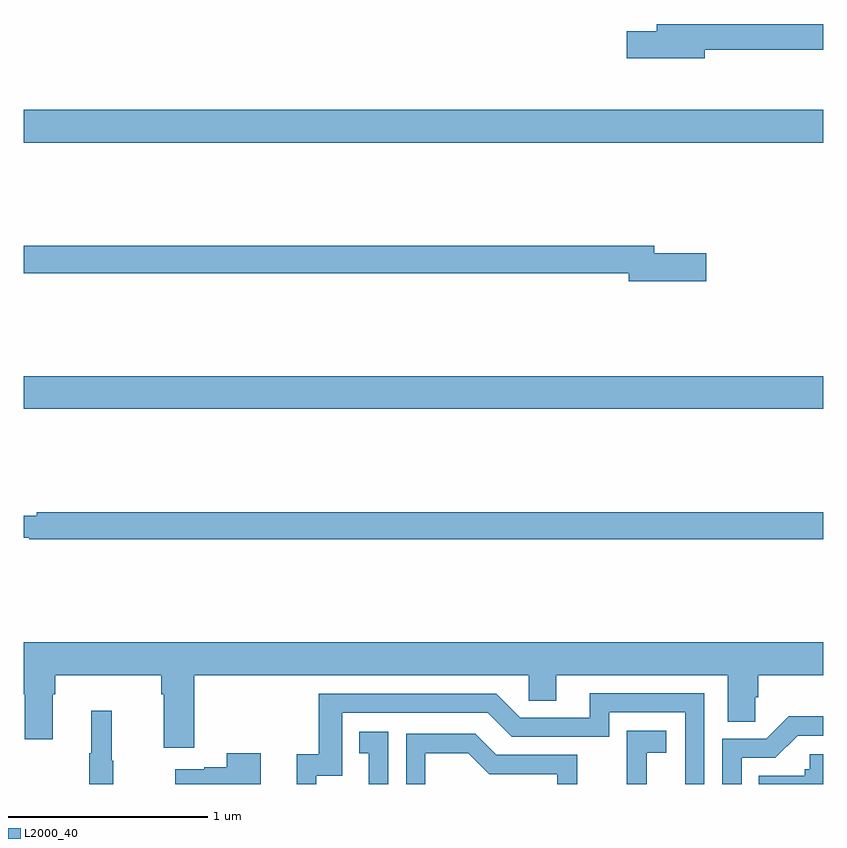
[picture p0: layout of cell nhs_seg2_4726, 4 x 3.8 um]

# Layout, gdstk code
import gdstk
lib = gdstk.Library(unit=1e-6, precision=1e-09)
def R(c, l, rs):  # rectangles x0, y0, x1, y1
    for r in rs: c.add(gdstk.rectangle(r[:2], r[2:], *l))
def P(c, l, *ps):  # polygons
    for p in ps: c.add(gdstk.Polygon(p, *l))
L2000_40 = (2000, 40)

nhs_seg2_4726 = lib.new_cell('nhs_seg2_4726')
R(nhs_seg2_4726, L2000_40, [(369,607.676,373,607.84), (369,609.008,373,609.172)])
P(nhs_seg2_4726, L2000_40, [(372.406,609.474),(373,609.474),(373,609.602),(372.167,609.602),(372.167,609.566),(372.018,609.566),(372.018,609.431),(372.406,609.431)],
  [(372.415,608.456),(372.154,608.456),(372.154,608.492),(369,608.492),(369,608.356),(372.026,608.356),(372.026,608.314),(372.415,608.314)],
  [(373,607.16),(369.064,607.16),(369.064,607.141),(369,607.141),(369,607.032),(369.028,607.032),(369.028,607.024),(373,607.024)],
  [(369,606.248),(369.005,606.248),(369.005,606.024),(369.145,606.024),(369.145,606.248),(369.158,606.248),(369.158,606.344),(369.689,606.344),(369.689,606.248),(369.701,606.248),(369.701,605.982),(369.854,605.982),(369.854,606.344),(371.526,606.344),(371.526,606.217),(371.665,606.217),(371.665,606.344),(372.521,606.344),(372.521,606.112),(372.66,606.112),(372.66,606.235),(372.674,606.235),(372.674,606.344),(373,606.344),(373,606.508),(369,606.508)],
  [(370.464,605.841),(370.593,605.841),(370.593,606.156),(371.322,606.156),(371.442,606.036),(371.928,606.036),(371.928,606.159),(372.309,606.159),(372.309,605.8),(372.405,605.8),(372.405,606.255),(371.831,606.255),(371.831,606.132),(371.484,606.132),(371.364,606.252),(370.477,606.252),(370.477,605.95),(370.367,605.95),(370.367,605.8),(370.464,605.8)],
  [(369.448,605.916),(369.44,605.916),(369.44,606.166),(369.338,606.166),(369.338,605.953),(369.327,605.953),(369.327,605.8),(369.448,605.8)],
  [(372.591,605.931),(372.76,605.931),(372.871,606.042),(373,606.042),(373,606.14),(372.827,606.14),(372.714,606.027),(372.495,606.027),(372.495,605.8),(372.591,605.8)],
  [(372.116,605.957),(372.214,605.957),(372.214,606.067),(372.016,606.067),(372.016,605.861),(372.017,605.861),(372.017,605.8),(372.116,605.8)],
  [(370.824,606.061),(370.678,606.061),(370.678,605.955),(370.727,605.955),(370.727,605.8),(370.824,605.8)],
  [(371.01,605.954),(371.224,605.954),(371.328,605.85),(371.67,605.85),(371.67,605.8),(371.769,605.8),(371.769,605.946),(371.365,605.946),(371.26,606.051),(370.914,606.051),(370.914,605.8),(371.01,605.8)],
  [(370.186,605.953),(370.016,605.953),(370.016,605.885),(369.902,605.885),(369.902,605.875),(369.759,605.875),(369.759,605.8),(370.186,605.8)],
  [(373,605.95),(372.933,605.95),(372.933,605.874),(372.907,605.874),(372.907,605.842),(372.676,605.842),(372.676,605.8),(373,605.8)])

lib.write_gds('nhs_seg2_4726.gds')
